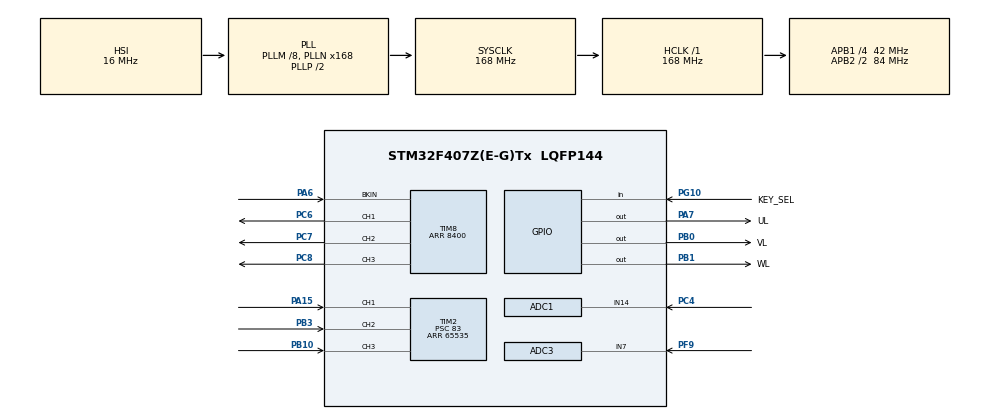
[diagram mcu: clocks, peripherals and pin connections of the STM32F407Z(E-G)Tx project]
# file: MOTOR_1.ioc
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ADC1.Channel-0\#ChannelRegularConversion=ADC_CHANNEL_14
ADC1.ContinuousConvMode=ENABLE
ADC1.NbrOfConversionFlag=1
ADC1.Rank-0\#ChannelRegularConversion=1
ADC1.SamplingTime-0\#ChannelRegularConversion=ADC_SAMPLETIME_3CYCLES
ADC1.master=1
ADC3.Channel-0\#ChannelRegularConversion=ADC_CHANNEL_7
ADC3.ContinuousConvMode=ENABLE
ADC3.DMAContinuousRequests=ENABLE
ADC3.NbrOfConversionFlag=1
ADC3.Rank-0\#ChannelRegularConversion=1
ADC3.SamplingTime-0\#ChannelRegularConversion=ADC_SAMPLETIME_3CYCLES
Dma.ADC1.1.Direction=DMA_PERIPH_TO_MEMORY
Dma.ADC1.1.FIFOMode=DMA_FIFOMODE_DISABLE
Dma.ADC1.1.Instance=DMA2_Stream0
Dma.ADC1.1.MemDataAlignment=DMA_MDATAALIGN_HALFWORD
Dma.ADC1.1.MemInc=DMA_MINC_ENABLE
Dma.ADC1.1.Mode=DMA_CIRCULAR
Dma.ADC1.1.PeriphDataAlignment=DMA_PDATAALIGN_HALFWORD
Dma.ADC1.1.PeriphInc=DMA_PINC_DISABLE
Dma.ADC1.1.Priority=DMA_PRIORITY_HIGH
Dma.ADC3.0.Direction=DMA_PERIPH_TO_MEMORY
Dma.ADC3.0.FIFOMode=DMA_FIFOMODE_DISABLE
Dma.ADC3.0.Instance=DMA2_Stream1
Dma.ADC3.0.MemDataAlignment=DMA_MDATAALIGN_HALFWORD
Dma.ADC3.0.MemInc=DMA_MINC_ENABLE
Dma.ADC3.0.Mode=DMA_CIRCULAR
Dma.ADC3.0.PeriphDataAlignment=DMA_PDATAALIGN_HALFWORD
Dma.ADC3.0.PeriphInc=DMA_PINC_DISABLE
Dma.ADC3.0.Priority=DMA_PRIORITY_HIGH
Dma.Request0=ADC3
Dma.Request1=ADC1
Mcu.Family=STM32F4
Mcu.Name=STM32F407Z(E-G)Tx
Mcu.Package=LQFP144
NVIC.DMA2_Stream0_IRQn=true\:0\:0\:false\:false\:true\:false\:true
NVIC.DMA2_Stream1_IRQn=true\:0\:0\:false\:false\:true\:false\:true
NVIC.PriorityGroup=NVIC_PRIORITYGROUP_4
NVIC.TIM2_IRQn=true\:0\:0\:false\:false\:true\:true\:true
NVIC.TIM8_BRK_TIM12_IRQn=true\:0\:0\:false\:false\:true\:true\:true
PA13.Mode=Serial_Wire
PA13.Signal=SYS_JTMS-SWDIO
PA14.Mode=Serial_Wire
PA14.Signal=SYS_JTCK-SWCLK
PA15.GPIO_Speed=GPIO_SPEED_FREQ_HIGH
PA15.Signal=S_TIM2_CH1_ETR
PA6.Mode=Activate-Break-Input
PA6.Signal=TIM8_BKIN
PA7.GPIO_Label=UL
PA7.GPIO_PuPd=GPIO_PULLUP
PA7.GPIO_Speed=GPIO_SPEED_FREQ_VERY_HIGH
PA7.Signal=GPIO_Output
PB0.GPIO_Label=VL
PB0.GPIO_PuPd=GPIO_PULLUP
PB0.GPIO_Speed=GPIO_SPEED_FREQ_VERY_HIGH
PB0.Signal=GPIO_Output
PB1.GPIO_Label=WL
PB1.GPIO_PuPd=GPIO_PULLUP
PB1.GPIO_Speed=GPIO_SPEED_FREQ_VERY_HIGH
PB1.Signal=GPIO_Output
PB10.GPIO_Speed=GPIO_SPEED_FREQ_HIGH
PB10.Signal=S_TIM2_CH3
PB3.GPIO_Speed=GPIO_SPEED_FREQ_HIGH
PB3.Signal=S_TIM2_CH2
PC4.Signal=ADCx_IN14
PC6.GPIO_Speed=GPIO_SPEED_FREQ_HIGH
PC6.Signal=S_TIM8_CH1
PC7.GPIO_Speed=GPIO_SPEED_FREQ_HIGH
PC7.Signal=S_TIM8_CH2
PC8.GPIO_Speed=GPIO_SPEED_FREQ_HIGH
PC8.Signal=S_TIM8_CH3
PF9.Mode=IN7
PF9.Signal=ADC3_IN7
PG10.GPIO_Label=KEY_SEL
PG10.GPIO_PuPd=GPIO_PULLUP
PG10.Signal=GPIO_Input
PH0-OSC_IN.Mode=HSE-External-Oscillator
PH0-OSC_IN.Signal=RCC_OSC_IN
PH1-OSC_OUT.Mode=HSE-External-Oscillator
PH1-OSC_OUT.Signal=RCC_OSC_OUT
ProjectManager.HeapSize=0x200
ProjectManager.StackSize=0x400
ProjectManager.TargetToolchain=MDK-ARM V5.27
RCC.48MHZClocksFreq_Value=84000000
RCC.AHBFreq_Value=168000000
RCC.APB1CLKDivider=RCC_HCLK_DIV4
RCC.APB1Freq_Value=42000000
RCC.APB1TimFreq_Value=84000000
RCC.APB2CLKDivider=RCC_HCLK_DIV2
RCC.APB2Freq_Value=84000000
RCC.APB2TimFreq_Value=168000000
RCC.CortexFreq_Value=168000000
RCC.HCLKFreq_Value=168000000
RCC.HSE_VALUE=25000000
RCC.HSI_VALUE=16000000
RCC.LSE_VALUE=32768
RCC.PLLM=8
RCC.PLLN=168
RCC.SYSCLKFreq_VALUE=168000000
RCC.SYSCLKSource=RCC_SYSCLKSOURCE_PLLCLK
RCC.VCOOutputFreq_Value=336000000
SH.ADCx_IN14.0=ADC1_IN14,IN14
SH.S_TIM2_CH1_ETR.0=TIM2_CH1,Input_Capture1_from_TI1
SH.S_TIM2_CH2.0=TIM2_CH2,Input_Capture2_from_TI2
SH.S_TIM2_CH3.0=TIM2_CH3,Input_Capture3_from_TI3
SH.S_TIM8_CH1.0=TIM8_CH1,PWM Generation1 CH1
SH.S_TIM8_CH2.0=TIM8_CH2,PWM Generation2 CH2
SH.S_TIM8_CH3.0=TIM8_CH3,PWM Generation3 CH3
TIM2.AutoReloadPreload=TIM_AUTORELOAD_PRELOAD_ENABLE
TIM2.Channel-Input_Capture1_from_TI1=TIM_CHANNEL_1
TIM2.Channel-Input_Capture2_from_TI2=TIM_CHANNEL_2
TIM2.Channel-Input_Capture3_from_TI3=TIM_CHANNEL_3
TIM2.ICPolarity_CH1=TIM_INPUTCHANNELPOLARITY_BOTHEDGE
TIM2.ICPolarity_CH2=TIM_INPUTCHANNELPOLARITY_BOTHEDGE
TIM2.ICPolarity_CH3=TIM_INPUTCHANNELPOLARITY_BOTHEDGE
TIM2.Period=65535
TIM2.Prescaler=83
TIM3.Period=9
TIM3.Prescaler=8399
TIM8.AutoReloadPreload=TIM_AUTORELOAD_PRELOAD_ENABLE
TIM8.BreakPolarity=TIM_BREAKPOLARITY_LOW
TIM8.Channel-PWM\ Generation1\ CH1=TIM_CHANNEL_1
TIM8.Channel-PWM\ Generation2\ CH2=TIM_CHANNEL_2
TIM8.Channel-PWM\ Generation3\ CH3=TIM_CHANNEL_3
TIM8.OffStateIDLEMode=TIM_OSSI_ENABLE
TIM8.OffStateRunMode=TIM_OSSR_ENABLE
TIM8.Period=8400
VP_TIM2_VS_ClockSourceINT.Mode=Internal
VP_TIM2_VS_XOR.Mode=XOR_enable
VP_TIM3_VS_ClockSourceINT.Mode=Internal
VP_TIM8_VS_ClockSourceINT.Mode=Internal
board=custom

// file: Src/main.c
/* USER CODE BEGIN Header */
/**
  ******************************************************************************
  * @file           : main.c
  * @brief          : Main program body
  ******************************************************************************
  * @attention
  *
  * Copyright (c) 2022 STMicroelectronics.
  * All rights reserved.
  *
  * This software is licensed under terms that can be found in the LICENSE file
  * in the root directory of this software component.
  * If no LICENSE file comes with this software, it is provided AS-IS.
  *
  ******************************************************************************
  */
/* USER CODE END Header */
#include "main.h"

/* USER CODE BEGIN Includes */
#include "stm32_2.8_lcd.h"
#include <stdio.h>
#include <string.h>
/* USER CODE END Includes */

/* USER CODE BEGIN PD */
#define TIM8_CH1_ON HAL_TIM_PWM_Start(&htim8,TIM_CHANNEL_1)
#define TIM8_CH2_ON HAL_TIM_PWM_Start(&htim8,TIM_CHANNEL_2)
#define TIM8_CH3_ON HAL_TIM_PWM_Start(&htim8,TIM_CHANNEL_3)

#define TIM8_CH1_OFF HAL_TIM_PWM_Stop(&htim8,TIM_CHANNEL_1)
#define TIM8_CH2_OFF HAL_TIM_PWM_Stop(&htim8,TIM_CHANNEL_2)
#define TIM8_CH3_OFF HAL_TIM_PWM_Stop(&htim8,TIM_CHANNEL_3)

#define GPIO_OUT1_ON HAL_GPIO_WritePin(UL_GPIO_Port,UL_Pin,GPIO_PIN_SET);
#define GPIO_OUT1_OFF HAL_GPIO_WritePin(UL_GPIO_Port,UL_Pin,GPIO_PIN_RESET);
#define GPIO_OUT2_ON HAL_GPIO_WritePin(VL_GPIO_Port,VL_Pin,GPIO_PIN_SET);
#define GPIO_OUT2_OFF HAL_GPIO_WritePin(VL_GPIO_Port,VL_Pin,GPIO_PIN_RESET);
#define GPIO_OUT3_ON HAL_GPIO_WritePin(WL_GPIO_Port,WL_Pin,GPIO_PIN_SET);
#define GPIO_OUT3_OFF HAL_GPIO_WritePin(WL_GPIO_Port,WL_Pin,GPIO_PIN_RESET);

#define MIN 720
/* USER CODE END PD */

HAL_StatusTypeDef har_status1, har_status2;

 ADC_HandleTypeDef hadc1;
ADC_HandleTypeDef hadc3;
DMA_HandleTypeDef hdma_adc1;
DMA_HandleTypeDef hdma_adc3;

TIM_HandleTypeDef htim2;
TIM_HandleTypeDef htim3;
TIM_HandleTypeDef htim8;

/* USER CODE BEGIN PV */
uint8_t state=0;
uint8_t hall_a;
uint8_t hall_b;
uint8_t hall_c;
uint32_t ADC_ConvertedValue[1];
uint32_t vbuf[1];
uint32_t Voltage;
float speed=0;
uint32_t cnt=0;
/* USER CODE END PV */

void SystemClock_Config(void);
static void MX_GPIO_Init(void);
static void MX_DMA_Init(void);
static void MX_ADC1_Init(void);
static void MX_ADC3_Init(void);
static void MX_TIM2_Init(void);
static void MX_TIM3_Init(void);
static void MX_TIM8_Init(void);

int main(void)
{

  /* MCU Configuration--------------------------------------------------------*/

  /* Reset of all peripherals, Initializes the Flash interface and the Systick. */
  HAL_Init();

  /* Configure the system clock */
  SystemClock_Config();

  /* Initialize all configured peripherals */
  MX_GPIO_Init();
  MX_DMA_Init();
  MX_ADC1_Init();
  MX_ADC3_Init();
  MX_TIM2_Init();
  MX_TIM3_Init();
  MX_TIM8_Init();
  /* USER CODE BEGIN 2 */

//
//	__HAL_TIM_ENABLE_IT(&htim8,TIM_IT_BREAK);
	HAL_TIM_IC_Start_IT(&htim2,TIM_CHANNEL_1);
	HAL_TIM_IC_Start_IT(&htim2,TIM_CHANNEL_2);
	HAL_TIM_IC_Start_IT(&htim2,TIM_CHANNEL_3);
	HAL_ADC_Start(&hadc1);
	HAL_ADC_Start(&hadc3);

	HAL_TIM_PWM_Start(&htim8,TIM_CHANNEL_1);
	HAL_TIM_PWM_Start(&htim8,TIM_CHANNEL_2);
	HAL_TIM_PWM_Start(&htim8,TIM_CHANNEL_3);

	STM32_LCD_Init();
	LCD_Clear(BackColor);
	LCD_SetTextColor(Blue);
	ADC_ConvertedValue[0]=MIN;

  /* USER CODE END 2 */

  /* Infinite loop */
  /* USER CODE BEGIN WHILE */
  while (1)
  {
		har_status1=HAL_ADC_Start_DMA(&hadc1,(uint32_t*)&ADC_ConvertedValue[0],1);
		har_status2=HAL_ADC_Start_DMA(&hadc1,(uint32_t*)&vbuf[0],1);

		if(har_status1==HAL_OK){
			if(ADC_ConvertedValue[0]>MIN){
				__HAL_TIM_SetCompare(&htim8, TIM_CHANNEL_1, ADC_ConvertedValue[0]);
				__HAL_TIM_SetCompare(&htim8, TIM_CHANNEL_2, ADC_ConvertedValue[0]);
				__HAL_TIM_SetCompare(&htim8, TIM_CHANNEL_3, ADC_ConvertedValue[0]);
			}
			else{
				__HAL_TIM_SetCompare(&htim8, TIM_CHANNEL_1, MIN);
				__HAL_TIM_SetCompare(&htim8, TIM_CHANNEL_2, MIN);
				__HAL_TIM_SetCompare(&htim8, TIM_CHANNEL_3, MIN);
			}
		}

		if(har_status2==HAL_OK){
			Voltage = vbuf[0]*2400*7.32/(7.32+560+560)/4096;
		}

		if(HAL_GPIO_ReadPin(KEY_SEL_GPIO_Port,KEY_SEL_Pin)==GPIO_PIN_RESET){
			HAL_Delay(10);
			if(HAL_GPIO_ReadPin(KEY_SEL_GPIO_Port,KEY_SEL_Pin)==GPIO_PIN_RESET){
				state=1-state;
				if(state==1){
					HAL_TIM_IC_CaptureCallback(&htim2);
					HAL_Delay(5);
					HAL_TIM_IC_CaptureCallback(&htim2);
				}
			}
		}

		if(state==1){
			LCD_DisplayStringLine(0,"RP:");
			LCD_DisplayStringLine(4,"PWM:");
			LCD_DisplayStringLine(8,"SPEED:");
			LCD_DisplayStringLine(12,"VOLTAGE:");
			LCD_Draw_NUM(0,200,ADC_ConvertedValue[0]);
			LCD_Draw_NUM(0,200,ADC_ConvertedValue[0]);
			LCD_Draw_NUM(0,200,speed);
			LCD_Draw_NUM(0,200,Voltage);
		}
		else{
			LCD_Clear(BackColor);
			LCD_DisplayStringLine(0,"OFF...");
		}

		HAL_Delay(5);
    /* USER CODE END WHILE */

  }
}

void SystemClock_Config(void)
{
  RCC_OscInitTypeDef RCC_OscInitStruct = {0};
  RCC_ClkInitTypeDef RCC_ClkInitStruct = {0};

  /** Configure the main internal regulator output voltage
  */
  __HAL_RCC_PWR_CLK_ENABLE();
  __HAL_PWR_VOLTAGESCALING_CONFIG(PWR_REGULATOR_VOLTAGE_SCALE1);

  /** Initializes the RCC Oscillators according to the specified parameters
  * in the RCC_OscInitTypeDef structure.
  */
  RCC_OscInitStruct.OscillatorType = RCC_OSCILLATORTYPE_HSI;
  RCC_OscInitStruct.HSIState = RCC_HSI_ON;
  RCC_OscInitStruct.HSICalibrationValue = RCC_HSICALIBRATION_DEFAULT;
  RCC_OscInitStruct.PLL.PLLState = RCC_PLL_ON;
  RCC_OscInitStruct.PLL.PLLSource = RCC_PLLSOURCE_HSI;
  RCC_OscInitStruct.PLL.PLLM = 8;
  RCC_OscInitStruct.PLL.PLLN = 168;
  RCC_OscInitStruct.PLL.PLLP = RCC_PLLP_DIV2;
  RCC_OscInitStruct.PLL.PLLQ = 4;
  if (HAL_RCC_OscConfig(&RCC_OscInitStruct) != HAL_OK)
  {
    Error_Handler();
  }

  /** Initializes the CPU, AHB and APB buses clocks
  */
  RCC_ClkInitStruct.ClockType = RCC_CLOCKTYPE_HCLK|RCC_CLOCKTYPE_SYSCLK
                              |RCC_CLOCKTYPE_PCLK1|RCC_CLOCKTYPE_PCLK2;
  RCC_ClkInitStruct.SYSCLKSource = RCC_SYSCLKSOURCE_PLLCLK;
  RCC_ClkInitStruct.AHBCLKDivider = RCC_SYSCLK_DIV1;
  RCC_ClkInitStruct.APB1CLKDivider = RCC_HCLK_DIV4;
  RCC_ClkInitStruct.APB2CLKDivider = RCC_HCLK_DIV2;

  if (HAL_RCC_ClockConfig(&RCC_ClkInitStruct, FLASH_LATENCY_5) != HAL_OK)
  {
    Error_Handler();
  }
}

static void MX_ADC1_Init(void)
{

  ADC_ChannelConfTypeDef sConfig = {0};

  /** Configure the global features of the ADC (Clock, Resolution, Data Alignment and number of conversion)
  */
  hadc1.Instance = ADC1;
  hadc1.Init.ClockPrescaler = ADC_CLOCK_SYNC_PCLK_DIV4;
  hadc1.Init.Resolution = ADC_RESOLUTION_12B;
  hadc1.Init.ScanConvMode = DISABLE;
  hadc1.Init.ContinuousConvMode = ENABLE;
  hadc1.Init.DiscontinuousConvMode = DISABLE;
  hadc1.Init.ExternalTrigConvEdge = ADC_EXTERNALTRIGCONVEDGE_NONE;
  hadc1.Init.ExternalTrigConv = ADC_SOFTWARE_START;
  hadc1.Init.DataAlign = ADC_DATAALIGN_RIGHT;
  hadc1.Init.NbrOfConversion = 1;
  hadc1.Init.DMAContinuousRequests = ENABLE;
  hadc1.Init.EOCSelection = ADC_EOC_SINGLE_CONV;
  if (HAL_ADC_Init(&hadc1) != HAL_OK)
  {
    Error_Handler();
  }

  /** Configure for the selected ADC regular channel its corresponding rank in the sequencer and its sample time.
  */
  sConfig.Channel = ADC_CHANNEL_14;
  sConfig.Rank = 1;
  sConfig.SamplingTime = ADC_SAMPLETIME_3CYCLES;
  if (HAL_ADC_ConfigChannel(&hadc1, &sConfig) != HAL_OK)
  {
    Error_Handler();
  }

}

static void MX_ADC3_Init(void)
{

  ADC_ChannelConfTypeDef sConfig = {0};

  /** Configure the global features of the ADC (Clock, Resolution, Data Alignment and number of conversion)
  */
  hadc3.Instance = ADC3;
  hadc3.Init.ClockPrescaler = ADC_CLOCK_SYNC_PCLK_DIV4;
  hadc3.Init.Resolution = ADC_RESOLUTION_12B;
  hadc3.Init.ScanConvMode = DISABLE;
  hadc3.Init.ContinuousConvMode = DISABLE;
  hadc3.Init.DiscontinuousConvMode = DISABLE;
  hadc3.Init.ExternalTrigConvEdge = ADC_EXTERNALTRIGCONVEDGE_NONE;
  hadc3.Init.ExternalTrigConv = ADC_SOFTWARE_START;
  hadc3.Init.DataAlign = ADC_DATAALIGN_RIGHT;
  hadc3.Init.NbrOfConversion = 1;
  hadc3.Init.DMAContinuousRequests = ENABLE;
  hadc3.Init.EOCSelection = ADC_EOC_SINGLE_CONV;
  if (HAL_ADC_Init(&hadc3) != HAL_OK)
  {
    Error_Handler();
  }

  /** Configure for the selected ADC regular channel its corresponding rank in the sequencer and its sample time.
  */
  sConfig.Channel = ADC_CHANNEL_7;
  sConfig.Rank = 1;
  sConfig.SamplingTime = ADC_SAMPLETIME_3CYCLES;
  if (HAL_ADC_ConfigChannel(&hadc3, &sConfig) != HAL_OK)
  {
    Error_Handler();
  }

}

static void MX_TIM2_Init(void)
{

  TIM_ClockConfigTypeDef sClockSourceConfig = {0};
  TIM_MasterConfigTypeDef sMasterConfig = {0};
  TIM_IC_InitTypeDef sConfigIC = {0};

  htim2.Instance = TIM2;
  htim2.Init.Prescaler = 83;
  htim2.Init.CounterMode = TIM_COUNTERMODE_UP;
  htim2.Init.Period = 65535;
  htim2.Init.ClockDivision = TIM_CLOCKDIVISION_DIV1;
  htim2.Init.AutoReloadPreload = TIM_AUTORELOAD_PRELOAD_ENABLE;
  if (HAL_TIM_Base_Init(&htim2) != HAL_OK)
  {
    Error_Handler();
  }
  sClockSourceConfig.ClockSource = TIM_CLOCKSOURCE_INTERNAL;
  if (HAL_TIM_ConfigClockSource(&htim2, &sClockSourceConfig) != HAL_OK)
  {
    Error_Handler();
  }
  if (HAL_TIM_IC_Init(&htim2) != HAL_OK)
  {
    Error_Handler();
  }
  sMasterConfig.MasterOutputTrigger = TIM_TRGO_RESET;
  sMasterConfig.MasterSlaveMode = TIM_MASTERSLAVEMODE_DISABLE;
  if (HAL_TIMEx_MasterConfigSynchronization(&htim2, &sMasterConfig) != HAL_OK)
  {
    Error_Handler();
  }
  sConfigIC.ICPolarity = TIM_INPUTCHANNELPOLARITY_BOTHEDGE;
  sConfigIC.ICSelection = TIM_ICSELECTION_DIRECTTI;
  sConfigIC.ICPrescaler = TIM_ICPSC_DIV1;
  sConfigIC.ICFilter = 8;
  if (HAL_TIM_IC_ConfigChannel(&htim2, &sConfigIC, TIM_CHANNEL_1) != HAL_OK)
  {
    Error_Handler();
  }
  if (HAL_TIM_IC_ConfigChannel(&htim2, &sConfigIC, TIM_CHANNEL_2) != HAL_OK)
  {
    Error_Handler();
  }
  if (HAL_TIM_IC_ConfigChannel(&htim2, &sConfigIC, TIM_CHANNEL_3) != HAL_OK)
  {
    Error_Handler();
  }
  if (HAL_TIM_ConfigTI1Input(&htim2, TIM_TI1SELECTION_XORCOMBINATION) != HAL_OK)
  {
    Error_Handler();
  }

}

static void MX_TIM3_Init(void)
{

  TIM_ClockConfigTypeDef sClockSourceConfig = {0};
  TIM_MasterConfigTypeDef sMasterConfig = {0};

  htim3.Instance = TIM3;
  htim3.Init.Prescaler = 8399;
  htim3.Init.CounterMode = TIM_COUNTERMODE_UP;
  htim3.Init.Period = 9;
  htim3.Init.ClockDivision = TIM_CLOCKDIVISION_DIV1;
  htim3.Init.AutoReloadPreload = TIM_AUTORELOAD_PRELOAD_ENABLE;
  if (HAL_TIM_Base_Init(&htim3) != HAL_OK)
  {
    Error_Handler();
  }
  sClockSourceConfig.ClockSource = TIM_CLOCKSOURCE_INTERNAL;
  if (HAL_TIM_ConfigClockSource(&htim3, &sClockSourceConfig) != HAL_OK)
  {
    Error_Handler();
  }
  sMasterConfig.MasterOutputTrigger = TIM_TRGO_RESET;
  sMasterConfig.MasterSlaveMode = TIM_MASTERSLAVEMODE_DISABLE;
  if (HAL_TIMEx_MasterConfigSynchronization(&htim3, &sMasterConfig) != HAL_OK)
  {
    Error_Handler();
  }

}

static void MX_TIM8_Init(void)
{

  TIM_ClockConfigTypeDef sClockSourceConfig = {0};
  TIM_MasterConfigTypeDef sMasterConfig = {0};
  TIM_OC_InitTypeDef sConfigOC = {0};
  TIM_BreakDeadTimeConfigTypeDef sBreakDeadTimeConfig = {0};

  htim8.Instance = TIM8;
  htim8.Init.Prescaler = 0;
  htim8.Init.CounterMode = TIM_COUNTERMODE_UP;
  htim8.Init.Period = 8400;
  htim8.Init.ClockDivision = TIM_CLOCKDIVISION_DIV1;
  htim8.Init.RepetitionCounter = 0;
  htim8.Init.AutoReloadPreload = TIM_AUTORELOAD_PRELOAD_ENABLE;
  if (HAL_TIM_Base_Init(&htim8) != HAL_OK)
  {
    Error_Handler();
  }
  sClockSourceConfig.ClockSource = TIM_CLOCKSOURCE_INTERNAL;
  if (HAL_TIM_ConfigClockSource(&htim8, &sClockSourceConfig) != HAL_OK)
  {
    Error_Handler();
  }
  if (HAL_TIM_PWM_Init(&htim8) != HAL_OK)
  {
    Error_Handler();
  }
  sMasterConfig.MasterOutputTrigger = TIM_TRGO_RESET;
  sMasterConfig.MasterSlaveMode = TIM_MASTERSLAVEMODE_DISABLE;
  if (HAL_TIMEx_MasterConfigSynchronization(&htim8, &sMasterConfig) != HAL_OK)
  {
    Error_Handler();
  }
  sConfigOC.OCMode = TIM_OCMODE_PWM1;
  sConfigOC.Pulse = 0;
  sConfigOC.OCPolarity = TIM_OCPOLARITY_HIGH;
  sConfigOC.OCNPolarity = TIM_OCNPOLARITY_HIGH;
  sConfigOC.OCFastMode = TIM_OCFAST_DISABLE;
  sConfigOC.OCIdleState = TIM_OCIDLESTATE_RESET;
  sConfigOC.OCNIdleState = TIM_OCNIDLESTATE_RESET;
  if (HAL_TIM_PWM_ConfigChannel(&htim8, &sConfigOC, TIM_CHANNEL_1) != HAL_OK)
  {
    Error_Handler();
  }
  if (HAL_TIM_PWM_ConfigChannel(&htim8, &sConfigOC, TIM_CHANNEL_2) != HAL_OK)
  {
    Error_Handler();
  }
  if (HAL_TIM_PWM_ConfigChannel(&htim8, &sConfigOC, TIM_CHANNEL_3) != HAL_OK)
  {
    Error_Handler();
  }
  sBreakDeadTimeConfig.OffStateRunMode = TIM_OSSR_ENABLE;
  sBreakDeadTimeConfig.OffStateIDLEMode = TIM_OSSI_ENABLE;
  sBreakDeadTimeConfig.LockLevel = TIM_LOCKLEVEL_OFF;
  sBreakDeadTimeConfig.DeadTime = 0;
  sBreakDeadTimeConfig.BreakState = TIM_BREAK_ENABLE;
  sBreakDeadTimeConfig.BreakPolarity = TIM_BREAKPOLARITY_LOW;
  sBreakDeadTimeConfig.AutomaticOutput = TIM_AUTOMATICOUTPUT_DISABLE;
  if (HAL_TIMEx_ConfigBreakDeadTime(&htim8, &sBreakDeadTimeConfig) != HAL_OK)
  {
    Error_Handler();
  }
  HAL_TIM_MspPostInit(&htim8);

}

static void MX_DMA_Init(void)
{

  /* DMA controller clock enable */
  __HAL_RCC_DMA2_CLK_ENABLE();

  /* DMA interrupt init */
  /* DMA2_Stream0_IRQn interrupt configuration */
  HAL_NVIC_SetPriority(DMA2_Stream0_IRQn, 0, 0);
  HAL_NVIC_EnableIRQ(DMA2_Stream0_IRQn);
  /* DMA2_Stream1_IRQn interrupt configuration */
  HAL_NVIC_SetPriority(DMA2_Stream1_IRQn, 0, 0);
  HAL_NVIC_EnableIRQ(DMA2_Stream1_IRQn);

}

static void MX_GPIO_Init(void)
{
  GPIO_InitTypeDef GPIO_InitStruct = {0};

  /* GPIO Ports Clock Enable */
  __HAL_RCC_GPIOF_CLK_ENABLE();
  __HAL_RCC_GPIOH_CLK_ENABLE();
  __HAL_RCC_GPIOA_CLK_ENABLE();
  __HAL_RCC_GPIOC_CLK_ENABLE();
  __HAL_RCC_GPIOB_CLK_ENABLE();
  __HAL_RCC_GPIOG_CLK_ENABLE();

  /*Configure GPIO pin Output Level */
  HAL_GPIO_WritePin(GPIOA, GPIO_PIN_7, GPIO_PIN_RESET);

  /*Configure GPIO pin Output Level */
  HAL_GPIO_WritePin(GPIOB, GPIO_PIN_0|GPIO_PIN_1, GPIO_PIN_RESET);

  /*Configure GPIO pin : PA7 */
  GPIO_InitStruct.Pin = GPIO_PIN_7;
  GPIO_InitStruct.Mode = GPIO_MODE_OUTPUT_PP;
  GPIO_InitStruct.Pull = GPIO_PULLUP;
  GPIO_InitStruct.Speed = GPIO_SPEED_FREQ_VERY_HIGH;
  HAL_GPIO_Init(GPIOA, &GPIO_InitStruct);

  /*Configure GPIO pins : PB0 PB1 */
  GPIO_InitStruct.Pin = GPIO_PIN_0|GPIO_PIN_1;
  GPIO_InitStruct.Mode = GPIO_MODE_OUTPUT_PP;
  GPIO_InitStruct.Pull = GPIO_PULLUP;
  GPIO_InitStruct.Speed = GPIO_SPEED_FREQ_VERY_HIGH;
  HAL_GPIO_Init(GPIOB, &GPIO_InitStruct);

  /*Configure GPIO pin : PG10 */
  GPIO_InitStruct.Pin = GPIO_PIN_10;
  GPIO_InitStruct.Mode = GPIO_MODE_INPUT;
  GPIO_InitStruct.Pull = GPIO_PULLUP;
  HAL_GPIO_Init(GPIOG, &GPIO_InitStruct);

}

/* USER CODE BEGIN 4 */
void HAL_TIM_IC_CaptureCallback(TIM_HandleTypeDef* htim){
	//PA15 a
	//PB3  b
	//PB10 c
	if(state==0){
		TIM8_CH1_OFF; TIM8_CH2_OFF; TIM8_CH3_OFF;
  GPIO_OUT1_OFF; GPIO_OUT2_OFF; GPIO_OUT3_OFF;
		return;
	}
	if(TIM2==htim->Instance){
		if(HAL_GPIO_ReadPin(GPIOB,GPIO_PIN_10)==GPIO_PIN_SET){
			hall_c=1;
		}
		else{
			hall_c=0;
		}
		if(HAL_GPIO_ReadPin(GPIOB,GPIO_PIN_3)==GPIO_PIN_SET){
			hall_b=1;
		}
		else{
			hall_b=0;
		}
		if(HAL_GPIO_ReadPin(GPIOA,GPIO_PIN_15)==GPIO_PIN_SET){
			hall_a=1;
		}
		else{
			hall_a=0;
		}
		if(hall_a==1 & hall_b==0 & hall_c==1)
			{
				TIM8_CH1_ON; TIM8_CH2_OFF; TIM8_CH3_OFF;
				GPIO_OUT1_OFF; GPIO_OUT2_ON; GPIO_OUT3_OFF;
			}
			if(hall_a==1 & hall_b==0 & hall_c==0)
			{
				TIM8_CH1_ON; TIM8_CH2_OFF; TIM8_CH3_OFF;
				GPIO_OUT1_OFF; GPIO_OUT2_OFF; GPIO_OUT3_ON;
			}
			if(hall_a==1 & hall_b==1 & hall_c==0)
			{
				TIM8_CH1_OFF; TIM8_CH2_ON; TIM8_CH3_OFF;
				GPIO_OUT1_OFF; GPIO_OUT2_OFF; GPIO_OUT3_ON;
			}
			if(hall_a==0 & hall_b==1 & hall_c==0)
			{
				TIM8_CH1_OFF; TIM8_CH2_ON; TIM8_CH3_OFF;
				GPIO_OUT1_ON; GPIO_OUT2_OFF; GPIO_OUT3_OFF;
			}
			if(hall_a==0 & hall_b==1 & hall_c==1)
			{
				TIM8_CH1_OFF; TIM8_CH2_OFF; TIM8_CH3_ON;
				GPIO_OUT1_ON; GPIO_OUT2_OFF; GPIO_OUT3_OFF;
			}
			if(hall_a==0 & hall_b==0 & hall_c==1)
			{
				TIM8_CH1_OFF; TIM8_CH2_OFF; TIM8_CH3_ON;
				GPIO_OUT1_OFF; GPIO_OUT2_ON; GPIO_OUT3_OFF;
			}
			speed = 60/(cnt*0.001)/3/360;
			cnt=0;
	}

}
void HAL_TIMEx_BreakCallback(TIM_HandleTypeDef *htim){
	if(htim->Instance==TIM8){
		TIM8_CH1_OFF; TIM8_CH2_OFF; TIM8_CH3_OFF;
			GPIO_OUT1_OFF; GPIO_OUT2_OFF; GPIO_OUT3_OFF;
		__HAL_TIM_DISABLE_IT(&htim8,TIM_IT_BREAK);
	}
}

void HAL_TIM_PeriodElapsedCallback(TIM_HandleTypeDef *htim)
{
	cnt++;
}

/* USER CODE END 4 */

void Error_Handler(void)
{
  __disable_irq();
  while (1)
  {
  }
}
